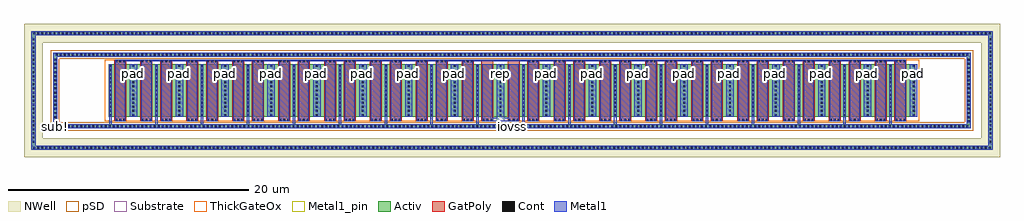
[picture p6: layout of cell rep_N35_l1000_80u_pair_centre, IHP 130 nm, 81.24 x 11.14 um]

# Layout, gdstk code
import gdstk
lib = gdstk.Library(unit=1e-6, precision=1e-09)
def R(c, l, rs):  # rectangles x0, y0, x1, y1
    for r in rs: c.add(gdstk.rectangle(r[:2], r[2:], *l))
def A(c, l, x, y, w, h, nx, ny, dx, dy):  # array of equal rectangles
    R(c, l, [(x+i*dx, y+j*dy, x+i*dx+w, y+j*dy+h) for i in range(nx) for j in range(ny)])
def P(c, l, *ps):  # polygons
    for p in ps: c.add(gdstk.Polygon(p, *l))
Activ = (1, 0)
GatPoly = (5, 0)
Cont = (6, 0)
Metal1 = (8, 0)
Metal1_pin = (8, 2)
pSD = (14, 0)
NWell = (31, 0)
Substrate = (40, 0)
ThickGateOx = (44, 0)

rep_n35_l1000_80u_pair_c = lib.new_cell('rep_N35_l1000_80u_pair_centre')
R(rep_n35_l1000_80u_pair_c, Activ, [(6.425,2.75,73.575,7.15)])
P(rep_n35_l1000_80u_pair_c, Activ, [(1.8,1.8),(1.8,7.76),(2.14,7.76),(2.14,2.14),(77.86,2.14),(77.86,7.76),(1.8,7.76),(1.8,8.1),(78.2,8.1),(78.2,1.8)],
  [(0,0),(0,9.56),(0.34,9.56),(0.34,0.34),(79.66,0.34),(79.66,9.56),(0,9.56),(0,9.9),(80,9.9),(80,0)])
R(rep_n35_l1000_80u_pair_c, GatPoly, [(6.895,2.38,7.895,7.52), (9.075,2.38,10.075,7.52), (10.715,2.38,11.715,7.52), (12.895,2.38,13.895,7.52), (14.535,2.38,15.535,7.52), (16.715,2.38,17.715,7.52), (18.355,2.38,19.355,7.52), (20.535,2.38,21.535,7.52), (22.175,2.38,23.175,7.52), (24.355,2.38,25.355,7.52), (25.995,2.38,26.995,7.52), (28.175,2.38,29.175,7.52), (29.815,2.38,30.815,7.52), (31.995,2.38,32.995,7.52), (33.635,2.38,34.635,7.52), (35.815,2.38,36.815,7.52), (37.455,2.38,38.455,7.52), (39.635,2.38,40.635,7.52), (41.275,2.38,42.275,7.52), (43.455,2.38,44.455,7.52), (45.095,2.38,46.095,7.52), (47.275,2.38,48.275,7.52), (48.915,2.38,49.915,7.52), (51.095,2.38,52.095,7.52), (52.735,2.38,53.735,7.52), (54.915,2.38,55.915,7.52), (56.555,2.38,57.555,7.52), (58.735,2.38,59.735,7.52), (60.375,2.38,61.375,7.52), (62.555,2.38,63.555,7.52), (64.195,2.38,65.195,7.52), (66.375,2.38,67.375,7.52), (68.015,2.38,69.015,7.52), (70.195,2.38,71.195,7.52), (71.835,2.38,72.835,7.52)])
A(rep_n35_l1000_80u_pair_c, Cont, 0.14, 0.09, 0.16, 0.16, 235, 2, 0.34, 9.56)
A(rep_n35_l1000_80u_pair_c, Cont, 0.09, 0.62, 0.16, 0.16, 1, 26, 0, 0.34)
A(rep_n35_l1000_80u_pair_c, Cont, 79.75, 0.62, 0.16, 0.16, 1, 26, 0, 0.34)
A(rep_n35_l1000_80u_pair_c, Cont, 2.01, 1.89, 0.16, 0.16, 224, 2, 0.34, 5.96)
A(rep_n35_l1000_80u_pair_c, Cont, 1.89, 2.32, 0.16, 0.16, 1, 16, 0, 0.34)
A(rep_n35_l1000_80u_pair_c, Cont, 77.95, 2.32, 0.16, 0.16, 1, 16, 0, 0.34)
A(rep_n35_l1000_80u_pair_c, Cont, 6.975, 2.45, 0.16, 0.16, 3, 2, 0.34, 4.84)
A(rep_n35_l1000_80u_pair_c, Cont, 9.155, 2.45, 0.16, 0.16, 3, 2, 0.34, 4.84)
A(rep_n35_l1000_80u_pair_c, Cont, 10.795, 2.45, 0.16, 0.16, 3, 2, 0.34, 4.84)
A(rep_n35_l1000_80u_pair_c, Cont, 12.975, 2.45, 0.16, 0.16, 3, 2, 0.34, 4.84)
A(rep_n35_l1000_80u_pair_c, Cont, 14.615, 2.45, 0.16, 0.16, 3, 2, 0.34, 4.84)
A(rep_n35_l1000_80u_pair_c, Cont, 16.795, 2.45, 0.16, 0.16, 3, 2, 0.34, 4.84)
A(rep_n35_l1000_80u_pair_c, Cont, 18.435, 2.45, 0.16, 0.16, 3, 2, 0.34, 4.84)
A(rep_n35_l1000_80u_pair_c, Cont, 20.615, 2.45, 0.16, 0.16, 3, 2, 0.34, 4.84)
A(rep_n35_l1000_80u_pair_c, Cont, 22.255, 2.45, 0.16, 0.16, 3, 2, 0.34, 4.84)
A(rep_n35_l1000_80u_pair_c, Cont, 24.435, 2.45, 0.16, 0.16, 3, 2, 0.34, 4.84)
A(rep_n35_l1000_80u_pair_c, Cont, 26.075, 2.45, 0.16, 0.16, 3, 2, 0.34, 4.84)
A(rep_n35_l1000_80u_pair_c, Cont, 28.255, 2.45, 0.16, 0.16, 3, 2, 0.34, 4.84)
A(rep_n35_l1000_80u_pair_c, Cont, 29.895, 2.45, 0.16, 0.16, 3, 2, 0.34, 4.84)
A(rep_n35_l1000_80u_pair_c, Cont, 32.075, 2.45, 0.16, 0.16, 3, 2, 0.34, 4.84)
A(rep_n35_l1000_80u_pair_c, Cont, 33.715, 2.45, 0.16, 0.16, 3, 2, 0.34, 4.84)
A(rep_n35_l1000_80u_pair_c, Cont, 35.895, 2.45, 0.16, 0.16, 3, 2, 0.34, 4.84)
A(rep_n35_l1000_80u_pair_c, Cont, 37.535, 2.45, 0.16, 0.16, 3, 1, 0.34, 0)
A(rep_n35_l1000_80u_pair_c, Cont, 39.715, 2.45, 0.16, 0.16, 3, 1, 0.34, 0)
A(rep_n35_l1000_80u_pair_c, Cont, 41.355, 2.45, 0.16, 0.16, 3, 2, 0.34, 4.84)
A(rep_n35_l1000_80u_pair_c, Cont, 43.535, 2.45, 0.16, 0.16, 3, 2, 0.34, 4.84)
A(rep_n35_l1000_80u_pair_c, Cont, 45.175, 2.45, 0.16, 0.16, 3, 2, 0.34, 4.84)
A(rep_n35_l1000_80u_pair_c, Cont, 47.355, 2.45, 0.16, 0.16, 3, 2, 0.34, 4.84)
A(rep_n35_l1000_80u_pair_c, Cont, 48.995, 2.45, 0.16, 0.16, 3, 2, 0.34, 4.84)
A(rep_n35_l1000_80u_pair_c, Cont, 51.175, 2.45, 0.16, 0.16, 3, 2, 0.34, 4.84)
A(rep_n35_l1000_80u_pair_c, Cont, 52.815, 2.45, 0.16, 0.16, 3, 2, 0.34, 4.84)
A(rep_n35_l1000_80u_pair_c, Cont, 54.995, 2.45, 0.16, 0.16, 3, 2, 0.34, 4.84)
A(rep_n35_l1000_80u_pair_c, Cont, 56.635, 2.45, 0.16, 0.16, 3, 2, 0.34, 4.84)
A(rep_n35_l1000_80u_pair_c, Cont, 58.815, 2.45, 0.16, 0.16, 3, 2, 0.34, 4.84)
A(rep_n35_l1000_80u_pair_c, Cont, 60.455, 2.45, 0.16, 0.16, 3, 2, 0.34, 4.84)
A(rep_n35_l1000_80u_pair_c, Cont, 62.635, 2.45, 0.16, 0.16, 3, 2, 0.34, 4.84)
A(rep_n35_l1000_80u_pair_c, Cont, 64.275, 2.45, 0.16, 0.16, 3, 2, 0.34, 4.84)
A(rep_n35_l1000_80u_pair_c, Cont, 66.455, 2.45, 0.16, 0.16, 3, 2, 0.34, 4.84)
A(rep_n35_l1000_80u_pair_c, Cont, 68.095, 2.45, 0.16, 0.16, 3, 2, 0.34, 4.84)
A(rep_n35_l1000_80u_pair_c, Cont, 70.275, 2.45, 0.16, 0.16, 3, 2, 0.34, 4.84)
A(rep_n35_l1000_80u_pair_c, Cont, 71.915, 2.45, 0.16, 0.16, 3, 2, 0.34, 4.84)
A(rep_n35_l1000_80u_pair_c, Cont, 6.495, 2.83, 0.16, 0.16, 36, 13, 1.91, 0.34)
A(rep_n35_l1000_80u_pair_c, Metal1, 6.47, 1.8, 0.21, 5.35, 18, 1, 3.82, 0)
A(rep_n35_l1000_80u_pair_c, Metal1, 8.175, 2.75, 0.62, 4.4, 8, 1, 3.82, 0)
A(rep_n35_l1000_80u_pair_c, Metal1, 42.555, 2.75, 0.62, 4.4, 9, 1, 3.82, 0)
R(rep_n35_l1000_80u_pair_c, Metal1, [(6.975,2.37,7.815,7.37), (9.155,2.37,9.995,7.37), (10.795,2.37,11.635,7.37), (12.975,2.37,13.815,7.37), (14.615,2.37,15.455,7.37), (16.795,2.37,17.635,7.37), (18.435,2.37,19.275,7.37), (20.615,2.37,21.455,7.37), (22.255,2.37,23.095,7.37), (24.435,2.37,25.275,7.37), (26.075,2.37,26.915,7.37), (28.255,2.37,29.095,7.37), (29.895,2.37,30.735,7.37), (32.075,2.37,32.915,7.37), (33.715,2.37,34.555,7.37), (35.895,2.37,36.735,7.37), (37.535,2.37,38.375,7.15), (37.535,2.37,40.555,2.69), (38.735,2.37,39.355,7.15), (39.715,2.37,40.555,7.15), (41.355,2.37,42.195,7.37), (43.535,2.37,44.375,7.37), (45.175,2.37,46.015,7.37), (47.355,2.37,48.195,7.37), (48.995,2.37,49.835,7.37), (51.175,2.37,52.015,7.37), (52.815,2.37,53.655,7.37), (54.995,2.37,55.835,7.37), (56.635,2.37,57.475,7.37), (58.815,2.37,59.655,7.37), (60.455,2.37,61.295,7.37), (62.635,2.37,63.475,7.37), (64.275,2.37,65.115,7.37), (66.455,2.37,67.295,7.37), (68.095,2.37,68.935,7.37), (70.275,2.37,71.115,7.37), (71.915,2.37,72.755,7.37), (6.975,7.37,72.755,7.53)])
P(rep_n35_l1000_80u_pair_c, Metal1, [(1.8,1.8),(1.8,7.76),(2.14,7.76),(2.14,2.14),(77.86,2.14),(77.86,7.76),(1.8,7.76),(1.8,8.1),(78.2,8.1),(78.2,1.8)],
  [(0,0),(0,9.56),(0.34,9.56),(0.34,0.34),(79.66,0.34),(79.66,9.56),(0,9.56),(0,9.9),(80,9.9),(80,0)])
A(rep_n35_l1000_80u_pair_c, Metal1_pin, 8.175, 2.75, 0.62, 4.4, 8, 1, 3.82, 0)
A(rep_n35_l1000_80u_pair_c, Metal1_pin, 42.555, 2.75, 0.62, 4.4, 9, 1, 3.82, 0)
R(rep_n35_l1000_80u_pair_c, Metal1_pin, [(1.8,1.8,78.2,2.14), (38.735,2.37,39.355,7.15), (6.975,7.37,72.755,7.53)])
P(rep_n35_l1000_80u_pair_c, pSD, [(1.62,1.62),(1.62,7.58),(2.32,7.58),(2.32,2.32),(77.68,2.32),(77.68,7.58),(1.62,7.58),(1.62,8.28),(78.38,8.28),(78.38,1.62)])
P(rep_n35_l1000_80u_pair_c, NWell, [(-0.62,-0.62),(-0.62,8.94),(0.96,8.94),(0.96,0.96),(79.04,0.96),(79.04,8.94),(-0.62,8.94),(-0.62,10.52),(80.62,10.52),(80.62,-0.62)])
P(rep_n35_l1000_80u_pair_c, Substrate, [(1.8,1.8),(1.8,7.76),(2.14,7.76),(2.14,2.14),(77.86,2.14),(77.86,7.76),(1.8,7.76),(1.8,8.1),(78.2,8.1),(78.2,1.8)])
R(rep_n35_l1000_80u_pair_c, ThickGateOx, [(6.085,2.41,73.915,7.49)])
rep_n35_l1000_80u_pair_c.add(gdstk.Label('pad', (8.485,6.328), layer=8, texttype=25))
rep_n35_l1000_80u_pair_c.add(gdstk.Label('pad', (12.305,6.328), layer=8, texttype=25))
rep_n35_l1000_80u_pair_c.add(gdstk.Label('pad', (16.125,6.328), layer=8, texttype=25))
rep_n35_l1000_80u_pair_c.add(gdstk.Label('pad', (19.945,6.328), layer=8, texttype=25))
rep_n35_l1000_80u_pair_c.add(gdstk.Label('pad', (23.765,6.328), layer=8, texttype=25))
rep_n35_l1000_80u_pair_c.add(gdstk.Label('pad', (27.585,6.328), layer=8, texttype=25))
rep_n35_l1000_80u_pair_c.add(gdstk.Label('pad', (31.405,6.328), layer=8, texttype=25))
rep_n35_l1000_80u_pair_c.add(gdstk.Label('pad', (35.225,6.328), layer=8, texttype=25))
rep_n35_l1000_80u_pair_c.add(gdstk.Label('rep', (39.045,6.328), layer=8, texttype=25))
rep_n35_l1000_80u_pair_c.add(gdstk.Label('pad', (42.865,6.328), layer=8, texttype=25))
rep_n35_l1000_80u_pair_c.add(gdstk.Label('pad', (46.685,6.328), layer=8, texttype=25))
rep_n35_l1000_80u_pair_c.add(gdstk.Label('pad', (50.505,6.328), layer=8, texttype=25))
rep_n35_l1000_80u_pair_c.add(gdstk.Label('pad', (54.325,6.328), layer=8, texttype=25))
rep_n35_l1000_80u_pair_c.add(gdstk.Label('pad', (58.145,6.328), layer=8, texttype=25))
rep_n35_l1000_80u_pair_c.add(gdstk.Label('pad', (61.965,6.328), layer=8, texttype=25))
rep_n35_l1000_80u_pair_c.add(gdstk.Label('pad', (65.785,6.328), layer=8, texttype=25))
rep_n35_l1000_80u_pair_c.add(gdstk.Label('pad', (69.605,6.328), layer=8, texttype=25))
rep_n35_l1000_80u_pair_c.add(gdstk.Label('pad', (73.425,6.328), layer=8, texttype=25))
rep_n35_l1000_80u_pair_c.add(gdstk.Label('gate', (39.865,7.45), layer=8, texttype=25))
rep_n35_l1000_80u_pair_c.add(gdstk.Label('iovss', (40,1.97), layer=8, texttype=25))
rep_n35_l1000_80u_pair_c.add(gdstk.Label('sub!', (1.97,1.97), layer=63, texttype=0))

lib.write_gds('rep_N35_l1000_80u_pair_centre.gds')
